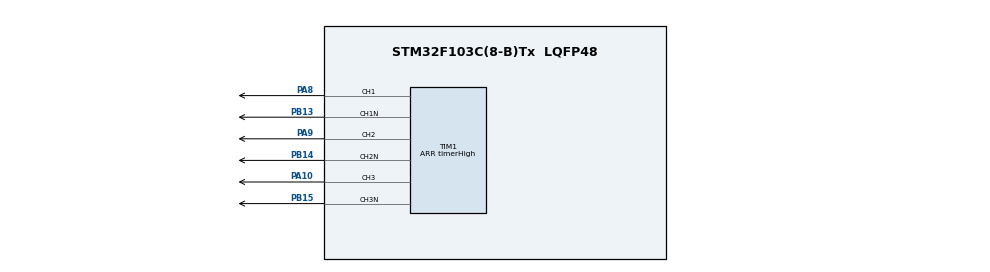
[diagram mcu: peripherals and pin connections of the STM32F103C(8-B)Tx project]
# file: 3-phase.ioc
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Mcu.Family=STM32F1
PD1-OSC_OUT.Mode=HSE-External-Oscillator
TIM1.Channel-PWM\ Generation1\ CH1\ CH1N=TIM_CHANNEL_1
PD0-OSC_IN.Signal=RCC_OSC_IN
RCC.APB1CLKDivider=RCC_HCLK_DIV2
PB13.Signal=TIM1_CH1N
PB15.Signal=TIM1_CH3N
RCC.SYSCLKSource=RCC_SYSCLKSOURCE_PLLCLK
ProjectManager.StackSize=0x400
PD1-OSC_OUT.Signal=RCC_OSC_OUT
PA13.Signal=SYS_JTMS-SWDIO
TIM1.AutoReloadPreload=TIM_AUTORELOAD_PRELOAD_ENABLE
TIM1.Channel-PWM\ Generation2\ CH2\ CH2N=TIM_CHANNEL_2
SH.S_TIM1_CH1.0=TIM1_CH1,PWM Generation1 CH1 CH1N
Mcu.UserConstants=pwmHigh,400;pwmPrescaler,0;timerHigh,512;deadTime,10
ProjectManager.TargetToolchain=Makefile
RCC.HCLKFreq_Value=36000000
RCC.APB2TimFreq_Value=36000000
PA9.Signal=S_TIM1_CH2
TIM1.Channel-PWM\ Generation3\ CH3\ CH3N=TIM_CHANNEL_3
RCC.USBFreq_Value=36000000
RCC.AHBFreq_Value=36000000
PD0-OSC_IN.Mode=HSE-External-Oscillator
PB14.Signal=TIM1_CH2N
board=custom
RCC.PLLMUL=RCC_PLL_MUL9
PB15.Mode=PWM Generation3 CH3 CH3N
RCC.APB2Freq_Value=36000000
SH.S_TIM1_CH2.0=TIM1_CH2,PWM Generation2 CH2 CH2N
PA14.Mode=Serial_Wire
PB14.Mode=PWM Generation2 CH2 CH2N
TIM1.DeadTime=20
PA8.Signal=S_TIM1_CH1
PA13.Mode=Serial_Wire
Mcu.Name=STM32F103C(8-B)Tx
VP_TIM1_VS_ClockSourceINT.Mode=Internal
RCC.SYSCLKFreq_VALUE=36000000
Mcu.Package=LQFP48
RCC.EnbaleCSS=true
PA10.Signal=S_TIM1_CH3
PA14.Signal=SYS_JTCK-SWCLK
ProjectManager.HeapSize=0x200
SH.S_TIM1_CH3.0=TIM1_CH3,PWM Generation3 CH3 CH3N
NVIC.PriorityGroup=NVIC_PRIORITYGROUP_4
RCC.APB1TimFreq_Value=36000000
TIM1.Period=timerHigh
PB13.Mode=PWM Generation1 CH1 CH1N
RCC.APB1Freq_Value=18000000

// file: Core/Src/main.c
/* USER CODE BEGIN Header */
/**
  ******************************************************************************
  * @file           : main.c
  * @brief          : Main program body
  ******************************************************************************
  * @attention
  *
  * <h2><center>&copy; Copyright (c) 2020 STMicroelectronics.
  * All rights reserved.</center></h2>
  *
  * This software component is licensed by ST under BSD 3-Clause license,
  * the "License"; You may not use this file except in compliance with the
  * License. You may obtain a copy of the License at:
  *                        opensource.org/licenses/BSD-3-Clause
  *
  ******************************************************************************
  */
/* USER CODE END Header */
#include "main.h"
#include "tim.h"
#include "gpio.h"

void SystemClock_Config(void);

int main(void)
{

  /* MCU Configuration--------------------------------------------------------*/

  /* Reset of all peripherals, Initializes the Flash interface and the Systick. */

  LL_APB2_GRP1_EnableClock(LL_APB2_GRP1_PERIPH_AFIO);
  LL_APB1_GRP1_EnableClock(LL_APB1_GRP1_PERIPH_PWR);

  NVIC_SetPriorityGrouping(NVIC_PRIORITYGROUP_4);

  /* System interrupt init*/

  /** NOJTAG: JTAG-DP Disabled and SW-DP Enabled
  */
  LL_GPIO_AF_Remap_SWJ_NOJTAG();

  /* Configure the system clock */
  SystemClock_Config();

  /* Initialize all configured peripherals */
  MX_GPIO_Init();
  MX_TIM1_Init();
  /* USER CODE BEGIN 2 */

  LL_TIM_EnableCounter(TIM1);
  LL_TIM_CC_EnableChannel(TIM1, LL_TIM_CHANNEL_CH1 | LL_TIM_CHANNEL_CH1N); // starts PWM on CH1 - CH1N pins
  LL_TIM_CC_EnableChannel(TIM1, LL_TIM_CHANNEL_CH2 | LL_TIM_CHANNEL_CH2N); // starts PWM on CH2 - CH2N pins
  LL_TIM_CC_EnableChannel(TIM1, LL_TIM_CHANNEL_CH3 | LL_TIM_CHANNEL_CH3N); // starts PWM on CH3 - CH3N pins

  // LL_TIM_OC_SetCompareCH1(TIM1, pwmHigh);

  LL_TIM_EnableAllOutputs(TIM1);
  LL_TIM_GenerateEvent_UPDATE(TIM1);

  // LL_mDelay(500);

  uint32_t state = 0;

  LL_TIM_OC_SetCompareCH1(TIM1, 0);
  LL_TIM_CC_DisableChannel(TIM1, LL_TIM_CHANNEL_CH1 | LL_TIM_CHANNEL_CH1N);

  LL_TIM_OC_SetCompareCH2(TIM1, 0);
  LL_TIM_CC_EnableChannel(TIM1, LL_TIM_CHANNEL_CH2 | LL_TIM_CHANNEL_CH2N);

  LL_TIM_OC_SetCompareCH3(TIM1, pwmHigh);
  LL_TIM_CC_EnableChannel(TIM1, LL_TIM_CHANNEL_CH3 | LL_TIM_CHANNEL_CH3N);

  LL_TIM_GenerateEvent_UPDATE(TIM1);

  LL_mDelay(300);

  /* USER CODE END 2 */

  /* Infinite loop */
  /* USER CODE BEGIN WHILE */

  uint32_t rot = 0;
  const uint32_t topValue = 900;
  const uint32_t startValue = 10;
  const uint32_t delayDefault = 8;
  const uint32_t targetValue = 1;

  while (1)
  {
    // continue;
    if (rot < topValue)
    rot++;
    if (rot > startValue)
    {
      LL_mDelay(delayDefault - (rot - startValue) * (delayDefault - targetValue) / (topValue - startValue));
    }
    else
    {
      LL_mDelay(delayDefault);
    }
    GPIOA->ODR ^= GPIO_ODR_ODR0;
    TIM1->CNT = 0;
    switch(state)
    {
     case 0:
      LL_TIM_OC_SetCompareCH1(TIM1, pwmHigh);
      LL_TIM_CC_EnableChannel(TIM1, LL_TIM_CHANNEL_CH1 | LL_TIM_CHANNEL_CH1N);
      LL_TIM_OC_SetCompareCH2(TIM1, 0); // ??
      LL_TIM_CC_EnableChannel(TIM1, LL_TIM_CHANNEL_CH2 | LL_TIM_CHANNEL_CH2N);
      LL_TIM_OC_SetCompareCH3(TIM1, 0);
      LL_TIM_CC_DisableChannel(TIM1, LL_TIM_CHANNEL_CH3 | LL_TIM_CHANNEL_CH3N);
      LL_TIM_GenerateEvent_UPDATE(TIM1);
      break;
     case 1:
      LL_TIM_OC_SetCompareCH1(TIM1, pwmHigh);
      LL_TIM_CC_EnableChannel(TIM1, LL_TIM_CHANNEL_CH1 | LL_TIM_CHANNEL_CH1N);
      LL_TIM_OC_SetCompareCH2(TIM1, 0); // ??
      LL_TIM_CC_DisableChannel(TIM1, LL_TIM_CHANNEL_CH2 | LL_TIM_CHANNEL_CH2N);
      LL_TIM_OC_SetCompareCH3(TIM1, 0);
      LL_TIM_CC_EnableChannel(TIM1, LL_TIM_CHANNEL_CH3 | LL_TIM_CHANNEL_CH3N);
      LL_TIM_GenerateEvent_UPDATE(TIM1);
      break;
     case 2:
      LL_TIM_OC_SetCompareCH1(TIM1, 0);
      LL_TIM_CC_DisableChannel(TIM1, LL_TIM_CHANNEL_CH1 | LL_TIM_CHANNEL_CH1N);
      LL_TIM_OC_SetCompareCH2(TIM1, pwmHigh);
      LL_TIM_CC_EnableChannel(TIM1, LL_TIM_CHANNEL_CH2 | LL_TIM_CHANNEL_CH2N);
      LL_TIM_OC_SetCompareCH3(TIM1, 0);
      LL_TIM_CC_EnableChannel(TIM1, LL_TIM_CHANNEL_CH3 | LL_TIM_CHANNEL_CH3N);
      LL_TIM_GenerateEvent_UPDATE(TIM1);
      break;
     case 3:
      LL_TIM_OC_SetCompareCH1(TIM1, 0);
      LL_TIM_CC_EnableChannel(TIM1, LL_TIM_CHANNEL_CH1 | LL_TIM_CHANNEL_CH1N);
      LL_TIM_OC_SetCompareCH2(TIM1, pwmHigh);
      LL_TIM_CC_EnableChannel(TIM1, LL_TIM_CHANNEL_CH2 | LL_TIM_CHANNEL_CH2N);
      LL_TIM_OC_SetCompareCH3(TIM1, 0);
      LL_TIM_CC_DisableChannel(TIM1, LL_TIM_CHANNEL_CH3 | LL_TIM_CHANNEL_CH3N);
      LL_TIM_GenerateEvent_UPDATE(TIM1);
      break;
     case 4:
      LL_TIM_OC_SetCompareCH1(TIM1, 0);
      LL_TIM_CC_EnableChannel(TIM1, LL_TIM_CHANNEL_CH1 | LL_TIM_CHANNEL_CH1N);
      LL_TIM_OC_SetCompareCH2(TIM1, 0);
      LL_TIM_CC_DisableChannel(TIM1, LL_TIM_CHANNEL_CH2 | LL_TIM_CHANNEL_CH2N);
      LL_TIM_OC_SetCompareCH3(TIM1, pwmHigh);
      LL_TIM_CC_EnableChannel(TIM1, LL_TIM_CHANNEL_CH3 | LL_TIM_CHANNEL_CH3N);
      LL_TIM_GenerateEvent_UPDATE(TIM1);
      break;
     case 5:
      LL_TIM_OC_SetCompareCH1(TIM1, 0);
      LL_TIM_CC_DisableChannel(TIM1, LL_TIM_CHANNEL_CH1 | LL_TIM_CHANNEL_CH1N);
      LL_TIM_OC_SetCompareCH2(TIM1, 0);
      LL_TIM_CC_EnableChannel(TIM1, LL_TIM_CHANNEL_CH2 | LL_TIM_CHANNEL_CH2N);
      LL_TIM_OC_SetCompareCH3(TIM1, pwmHigh);
      LL_TIM_CC_EnableChannel(TIM1, LL_TIM_CHANNEL_CH3 | LL_TIM_CHANNEL_CH3N);
      LL_TIM_GenerateEvent_UPDATE(TIM1);
      break;
    }
    state++;
    state = state % 6;

    /* USER CODE END WHILE */

  }
}

void SystemClock_Config(void)
{
  LL_FLASH_SetLatency(LL_FLASH_LATENCY_1);
  while(LL_FLASH_GetLatency()!= LL_FLASH_LATENCY_1)
  {
  }
  LL_RCC_HSI_SetCalibTrimming(16);
  LL_RCC_HSI_Enable();

   /* Wait till HSI is ready */
  while(LL_RCC_HSI_IsReady() != 1)
  {

  }
  LL_RCC_PLL_ConfigDomain_SYS(LL_RCC_PLLSOURCE_HSI_DIV_2, LL_RCC_PLL_MUL_9);
  LL_RCC_PLL_Enable();

   /* Wait till PLL is ready */
  while(LL_RCC_PLL_IsReady() != 1)
  {

  }
  LL_RCC_SetAHBPrescaler(LL_RCC_SYSCLK_DIV_1);
  LL_RCC_SetAPB1Prescaler(LL_RCC_APB1_DIV_2);
  LL_RCC_SetAPB2Prescaler(LL_RCC_APB2_DIV_1);
  LL_RCC_SetSysClkSource(LL_RCC_SYS_CLKSOURCE_PLL);

   /* Wait till System clock is ready */
  while(LL_RCC_GetSysClkSource() != LL_RCC_SYS_CLKSOURCE_STATUS_PLL)
  {

  }
  LL_Init1msTick(36000000);
  LL_SetSystemCoreClock(36000000);
}

void Error_Handler(void)
{
}

/************************ (C) COPYRIGHT STMicroelectronics *****END OF FILE****/
